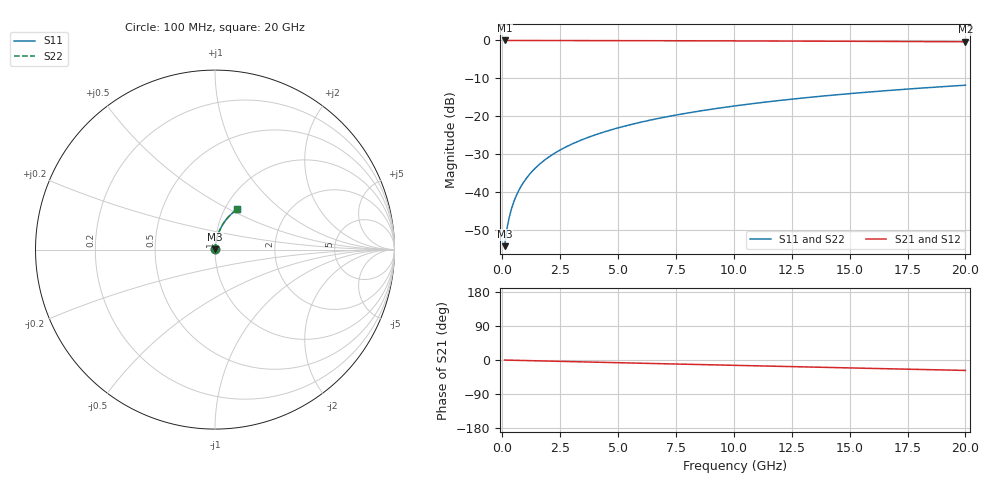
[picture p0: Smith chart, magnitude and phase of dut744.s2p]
! Touchstone file exported from HFSS 2026.1.0
!  File:  C:/ffzhzh/LocalFiles/Ansys_Project_Files/temp_train_BSMRDL_744_1783168742_18472.aedt
!  Generated:  08:40:20 PM Jul  4, 2026
!  Design:  BSMRDL
!  Project:  temp_train_BSMRDL_744_1783168742_18472
! Variables:
!  h_bsmrdl = 5.63um
!  h_ox = 20um
!  h_rdl = 5um
!  h_sub = 80um
!  h_tmrdl = 5um
!  h_tsv = 80um
!  h_via = 3um
!  l_bsmrdl = 381.28um
!  l_sub = 781.28um
!  l_tmrdl = 200um
!  m_sub = 200um
!  pitch = 53.39um
!  r_tsv = 6um
!  s_tmrdl = 10um
!  w_bsmrdl = 24.35um
!  w_sub = 500um
!  w_tmrdl = 12um
!  x_tsv_center1 = 206um
!  x_tsv_center2 = 611.63um
!  x_tsv_center3 = 823.63um
!  x_tsv_center4 = 1229.26um
!  x_tsv_center5 = 1441.26um
!  x_tsv_center6 = 1846.89um
# GHz S MA R 50.000000
! Terminal data exported
! Port[1] = BSM_RDL1_1_T1
! Port[2] = BSM_RDL1_1_T2
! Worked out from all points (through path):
!   200 points, 100 MHz to 20 GHz, reference 50 ohm
!   highest |S21| = -0.01 dB at 100 MHz (marker M1); lowest = -0.4 dB at 20 GHz (marker M2)
!   group delay of S21, straight-line fit = 3.82 ps
!   lowest |S11| = -54.3 dB at 100 MHz (marker M3), VSWR 1.00, Z = 50.1 + j0.156 ohm
!   |S11| at or under -10 dB: start of sweep to end of sweep
!   |S22| runs from -54.3 to -11.8 dB; largest |S21 - S12| = 3.6e-15
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0.1  0.001934 53.5  0.9989 -0.2  0.9989 -0.2  0.001934 53.5
! Gamma 0 0 0 0
! Port Impedance 50 0 50 0
0.2  0.003274 67.6  0.9988 -0.3  0.9988 -0.3  0.003274 67.6
0.3  0.004656 73.5  0.9987 -0.4  0.9987 -0.4  0.004656 73.5
0.4  0.006056 76.8  0.9987 -0.6  0.9987 -0.6  0.006056 76.8
0.5  0.007468 78.8  0.9986 -0.7  0.9986 -0.7  0.007468 78.8
0.7  0.01032 81.1  0.9985 -1.0  0.9985 -1.0  0.01032 81.1
0.8  0.01175 81.8  0.9985 -1.2  0.9985 -1.2  0.01175 81.8
1  0.01461 82.7  0.9984 -1.5  0.9984 -1.5  0.01461 82.7
1.2  0.01747 83.1  0.9983 -1.7  0.9983 -1.7  0.01747 83.1
1.4  0.02033 83.3  0.9981 -2.0  0.9981 -2.0  0.02033 83.3
1.7  0.02461 83.4  0.9979 -2.5  0.9979 -2.5  0.02461 83.4
2  0.02886 83.3  0.9977 -2.9  0.9977 -2.9  0.02886 83.3
2.7  0.03869 82.7  0.997 -3.9  0.997 -3.9  0.03869 82.8
3.5  0.04979 81.9  0.9961 -5.0  0.9961 -5.0  0.04978 81.9
4.2  0.05938 81.1  0.9953 -6.0  0.9953 -6.0  0.05938 81.1
5  0.07026 80.1  0.9942 -7.2  0.9942 -7.2  0.07026 80.1
6.8  0.0944 77.9  0.9916 -9.7  0.9916 -9.7  0.09439 77.9
8.3  0.1142 76.0  0.9891 -11.8  0.9891 -11.8  0.1142 76.0
10.1  0.1376 73.7  0.9857 -14.2  0.9857 -14.2  0.1376 73.8
13.4  0.1792 69.5  0.9783 -18.7  0.9783 -18.7  0.1792 69.5
16.7  0.2189 65.2  0.9697 -23.2  0.9697 -23.2  0.2189 65.3
20  0.2565 61.0  0.96 -27.5  0.96 -27.5  0.2565 61.0
